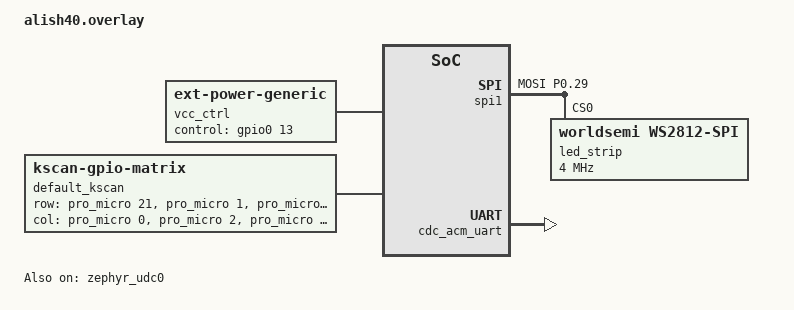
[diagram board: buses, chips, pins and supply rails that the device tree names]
#include "alish40-layouts.dtsi"
#include <dt-bindings/zmk/matrix_transform.h>
#include <dt-bindings/led/led.h>

#define MK(row, col) (((row) << 8) | (col))

/ {
    chosen {
        zmk,kscan = &default_kscan;
        zmk,underglow = &zmk_rgb_underglow;
        zmk,physical-layout = &phys_layout;
        /* zmk,matrix-transform = &default_transform; 이거 없어야 한다고 함 */
        
        /* Studio 필수 설정 */
        zephyr,console = &cdc_acm_uart;
        zephyr,shell-uart = &cdc_acm_uart;
        zmk,storage = &storage_partition;
    };

    vcc_ctrl: vcc_ctrl {
        compatible = "zmk,ext-power-generic";
        control-gpios = <&gpio0 13 GPIO_ACTIVE_HIGH>;
    };

    default_kscan: kscan {
        compatible = "zmk,kscan-gpio-matrix";
        diode-direction = "col2row";
        wakeup-source;
        row-gpios = <&pro_micro 21 (GPIO_ACTIVE_HIGH | GPIO_PULL_DOWN)>,
                    <&pro_micro 1  (GPIO_ACTIVE_HIGH | GPIO_PULL_DOWN)>,
                    <&pro_micro 4  (GPIO_ACTIVE_HIGH | GPIO_PULL_DOWN)>,
                    <&pro_micro 5  (GPIO_ACTIVE_HIGH | GPIO_PULL_DOWN)>,
                    <&pro_micro 6  (GPIO_ACTIVE_HIGH | GPIO_PULL_DOWN)>,
                    <&pro_micro 7  (GPIO_ACTIVE_HIGH | GPIO_PULL_DOWN)>,
                    <&pro_micro 19 (GPIO_ACTIVE_HIGH | GPIO_PULL_DOWN)>,
                    <&pro_micro 18 (GPIO_ACTIVE_HIGH | GPIO_PULL_DOWN)>;
        col-gpios = <&pro_micro 0  GPIO_ACTIVE_HIGH>,
                    <&pro_micro 2  GPIO_ACTIVE_HIGH>,
                    <&pro_micro 3  GPIO_ACTIVE_HIGH>,
                    <&pro_micro 16 GPIO_ACTIVE_HIGH>,
                    <&pro_micro 14 GPIO_ACTIVE_HIGH>,
                    <&pro_micro 15 GPIO_ACTIVE_HIGH>;
    };

    default_transform: matrix_transform {
        compatible = "zmk,matrix-transform";
        rows = <8>;
        columns = <6>;
        map = <
            MK(0,0) MK(1,0) MK(0,1) MK(1,1) MK(0,2) MK(1,2) MK(0,3) MK(1,3) MK(0,4) MK(1,4) MK(0,5) MK(1,5)
            MK(2,0) MK(3,0) MK(2,1) MK(3,1) MK(2,2) MK(3,2) MK(2,3) MK(3,3) MK(2,4) MK(3,4) MK(2,5) MK(3,5)
            MK(5,0) MK(4,0) MK(5,1) MK(4,1) MK(5,2) MK(4,2) MK(5,3) MK(4,3) MK(5,4) MK(4,4) MK(5,5) MK(4,5)
            MK(6,0) MK(7,0) MK(6,1) MK(6,2) MK(7,3) MK(6,4) MK(7,5) MK(6,5)
        >;
    };

    zmk_rgb_underglow: zmk_rgb_underglow {
        compatible = "zmk,rgb-underglow";
        led-strip = <&led_strip>;
        chain-length = <10>;
    };

};

/* --- 3. 외부 노드 및 플래시 설정 (주소 변경) --- */

&flash0 {
    partitions {
        compatible = "fixed-partitions";
        #address-cells = <1>;
        #size-cells = <1>;

        storage_partition: partition@ec000 {
            label = "storage";
            reg = <0x000ec000 DT_SIZE_K(32)>;
        };
    };
};

&pinctrl {
    spi1_default: spi1_default {
        group1 { psels = <NRF_PSEL(SPIM_MOSI, 0, 29)>; };
    };
    spi1_sleep: spi1_sleep {
        group1 { psels = <NRF_PSEL(SPIM_MOSI, 0, 29)>; low-power-enable; };
    };
};

&spi1 {
    compatible = "nordic,nrf-spim";
    status = "okay";
    pinctrl-0 = <&spi1_default>;
    pinctrl-1 = <&spi1_sleep>;
    pinctrl-names = "default", "sleep";
    led_strip: ws2812@0 {
        compatible = "worldsemi,ws2812-spi";
        reg = <0>;
        spi-max-frequency = <4000000>;
        /* chain-length = <10>;  여기에선 빼라고 함*/ 
        spi-one-frame = <0x70>;
        spi-zero-frame = <0x40>;
        color-mapping = <LED_COLOR_ID_GREEN LED_COLOR_ID_RED LED_COLOR_ID_BLUE>;
    };
};

&zephyr_udc0 {
    status = "okay";
    cdc_acm_uart: cdc_acm_uart {
        compatible = "zephyr,cdc-acm-uart";
    };
};
